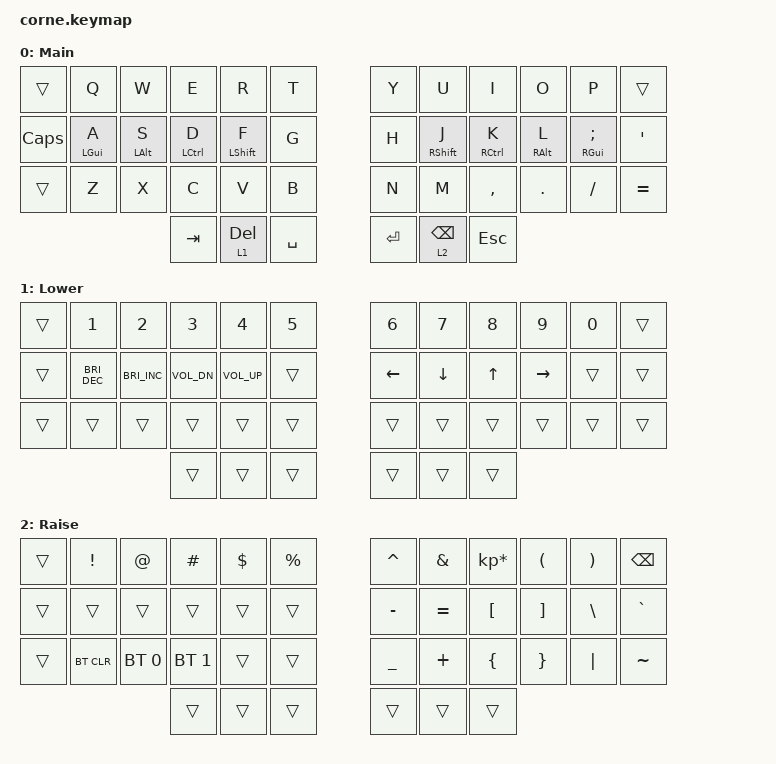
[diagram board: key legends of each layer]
/*
 * Copyright (c) 2020 The ZMK Contributors
 *
 * SPDX-License-Identifier: MIT
 */

#include <behaviors.dtsi>
#include <dt-bindings/zmk/bt.h>
#include <dt-bindings/zmk/keys.h>

/ {
    keymap {
        compatible = "zmk,keymap";

        main_layer {
            // -----------------------------------------------------------------------------------------
            // |  TAB |  Q  |  W  |  E  |  R  |  T  |   |  Y  |  U   |  I  |  O  |  P  | BKSP |
            // | CTRL |  A  |  S  |  D  |  F  |  G  |   |  H  |  J   |  K  |  L  |  ;  |  '   |
            // | SHFT |  Z  |  X  |  C  |  V  |  B  |   |  N  |  M   |  ,  |  .  |  /  | ESC  |
            //                    | GUI | LWR | SPC |   | ENT | RSE  | ALT |

            label = "Main";
            bindings = <
&trans    &kp Q       &kp W       &kp E        &kp R        &kp T        &kp Y    &kp U        &kp I        &kp O       &kp P          &trans
&kp CAPS  &mt LGUI A  &mt LALT S  &mt LCTRL D  &mt LSHFT F  &kp G        &kp H    &mt RSHFT J  &mt RCTRL K  &mt RALT L  &mt RGUI SEMI  &kp SQT
&trans    &kp Z       &kp X       &kp C        &kp V        &kp B        &kp N    &kp M        &kp COMMA    &kp DOT     &kp FSLH       &kp EQUAL
                                  &kp TAB      &lt 1 DEL    &kp SPACE    &kp RET  &lt 2 BSPC   &kp ESCAPE
            >;
        };

        lower_layer {
            // -----------------------------------------------------------------------------------------
            // |  TAB |  1  |  2  |  3  |  4  |  5  |   |  6  |  7  |  8  |  9  |  0  | BKSP |
            // | BTCLR| BT1 | BT2 | BT3 | BT4 | BT5 |   | LFT | DWN |  UP | RGT |     |      |
            // | SHFT |     |     |     |     |     |   |     |     |     |     |     |      |
            //                    | GUI |     | SPC |   | ENT |     | ALT |

            label = "Lower";
            bindings = <
&trans  &kp N1         &kp N2         &kp N3        &kp N4           &kp N5    &kp N6    &kp N7    &kp N8  &kp N9     &kp N0  &trans
&trans  &kp C_BRI_DEC  &kp C_BRI_INC  &kp C_VOL_DN  &kp C_VOLUME_UP  &trans    &kp LEFT  &kp DOWN  &kp UP  &kp RIGHT  &trans  &trans
&trans  &trans         &trans         &trans        &trans           &trans    &trans    &trans    &trans  &trans     &trans  &trans
                                      &trans        &trans           &trans    &trans    &trans    &trans
            >;
        };

        raise_layer {
            // -----------------------------------------------------------------------------------------
            // |  TAB |  !  |  @  |  #  |  $  |  %  |   |  ^  |  &  |  *  |  (  |  )  | BKSP |
            // | CTRL |     |     |     |     |     |   |  -  |  =  |  [  |  ]  |  \  |  `   |
            // | SHFT |     |     |     |     |     |   |  _  |  +  |  {  |  }  | "|" |  ~   |
            //                    | GUI |     | SPC |   | ENT |     | ALT |

            label = "Raise";
            bindings = <
&trans  &kp EXCL    &kp AT        &kp HASH      &kp DLLR  &kp PRCNT    &kp CARET  &kp AMPS   &kp KP_MULTIPLY  &kp LPAR  &kp RPAR  &kp BSPC
&trans  &trans      &trans        &trans        &trans    &trans       &kp MINUS  &kp EQUAL  &kp LBKT         &kp RBKT  &kp BSLH  &kp GRAVE
&trans  &bt BT_CLR  &bt BT_SEL 0  &bt BT_SEL 1  &trans    &trans       &kp UNDER  &kp PLUS   &kp LBRC         &kp RBRC  &kp PIPE  &kp TILDE
                                  &trans        &trans    &trans       &trans     &trans     &trans
            >;
        };
    };
};
